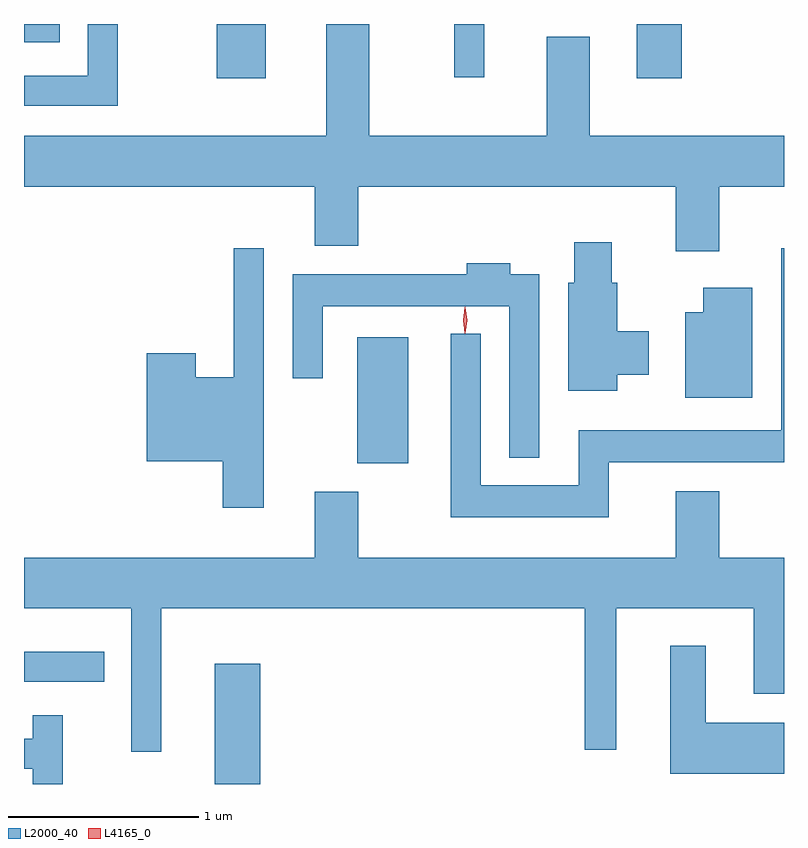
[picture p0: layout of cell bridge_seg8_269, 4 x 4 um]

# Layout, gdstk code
import gdstk
lib = gdstk.Library(unit=1e-6, precision=1e-09)
def R(c, l, rs):  # rectangles x0, y0, x1, y1
    for r in rs: c.add(gdstk.rectangle(r[:2], r[2:], *l))
def P(c, l, *ps):  # polygons
    for p in ps: c.add(gdstk.Polygon(p, *l))
L2000_40 = (2000, 40)
L4165_0 = (4165, 0)

bridge_seg8_269 = lib.new_cell('bridge_seg8_269')
R(bridge_seg8_269, L2000_40, [(1276.046,1811.072,1276.284,1811.704), (1275.041,1811.611,1275.463,1811.769), (1276.796,1812.761,1277.064,1813.424), (1276.056,1814.786,1276.314,1815.072), (1278.266,1814.786,1278.504,1815.072), (1277.306,1814.793,1277.464,1815.072), (1275.041,1814.976,1275.228,1815.072)])
P(bridge_seg8_269, L2000_40, [(1278.699,1814.216),(1279.041,1814.216),(1279.041,1814.484),(1278.019,1814.484),(1278.019,1815.004),(1277.791,1815.004),(1277.791,1814.484),(1276.859,1814.484),(1276.859,1815.072),(1276.631,1815.072),(1276.631,1814.484),(1275.041,1814.484),(1275.041,1814.216),(1276.571,1814.216),(1276.571,1813.906),(1276.799,1813.906),(1276.799,1814.216),(1278.471,1814.216),(1278.471,1813.876),(1278.699,1813.876)],
  [(1275.534,1815.072),(1275.376,1815.072),(1275.376,1814.799),(1275.041,1814.799),(1275.041,1814.641),(1275.534,1814.641)],
  [(1278.164,1813.226),(1278.329,1813.226),(1278.329,1813.454),(1278.164,1813.454),(1278.164,1813.709),(1278.134,1813.709),(1278.134,1813.924),(1277.936,1813.924),(1277.936,1813.709),(1277.906,1813.709),(1277.906,1813.141),(1278.164,1813.141)],
  [(1278.119,1812.766),(1279.041,1812.766),(1279.041,1813.893),(1279.026,1813.893),(1279.026,1812.934),(1277.961,1812.934),(1277.961,1812.644),(1277.444,1812.644),(1277.444,1813.443),(1277.286,1813.443),(1277.286,1812.476),(1278.119,1812.476)],
  [(1276.304,1813.893),(1276.146,1813.893),(1276.146,1813.214),(1275.944,1813.214),(1275.944,1813.339),(1275.686,1813.339),(1275.686,1812.771),(1276.086,1812.771),(1276.086,1812.526),(1276.304,1812.526)],
  [(1277.754,1813.754),(1277.599,1813.754),(1277.599,1813.814),(1277.371,1813.814),(1277.371,1813.754),(1276.456,1813.754),(1276.456,1813.208),(1276.614,1813.208),(1276.614,1813.586),(1277.596,1813.586),(1277.596,1812.788),(1277.754,1812.788)],
  [(1278.874,1813.684),(1278.616,1813.684),(1278.616,1813.554),(1278.521,1813.554),(1278.521,1813.106),(1278.874,1813.106)],
  [(1275.764,1811.996),(1277.991,1811.996),(1277.991,1811.253),(1278.159,1811.253),(1278.159,1811.996),(1278.881,1811.996),(1278.881,1811.546),(1279.041,1811.546),(1279.041,1812.264),(1278.699,1812.264),(1278.699,1812.614),(1278.471,1812.614),(1278.471,1812.264),(1276.799,1812.264),(1276.799,1812.609),(1276.571,1812.609),(1276.571,1812.264),(1275.041,1812.264),(1275.041,1811.996),(1275.606,1811.996),(1275.606,1811.243),(1275.764,1811.243)],
  [(1279.041,1811.394),(1278.629,1811.394),(1278.629,1811.799),(1278.441,1811.799),(1278.441,1811.126),(1279.041,1811.126)],
  [(1275.244,1811.433),(1275.086,1811.433),(1275.086,1811.309),(1275.041,1811.309),(1275.041,1811.151),(1275.086,1811.151),(1275.086,1811.072),(1275.244,1811.072)])
P(bridge_seg8_269, L4165_0, [(1277.362,1813.447),(1277.353,1813.514),(1277.362,1813.58),(1277.363,1813.58),(1277.363,1813.58),(1277.373,1813.514),(1277.363,1813.447),(1277.363,1813.447)],
  [(1277.363,1813.443),(1277.362,1813.444),(1277.353,1813.513),(1277.362,1813.582),(1277.363,1813.583),(1277.363,1813.582),(1277.373,1813.513),(1277.363,1813.444)])

lib.write_gds('bridge_seg8_269.gds')
